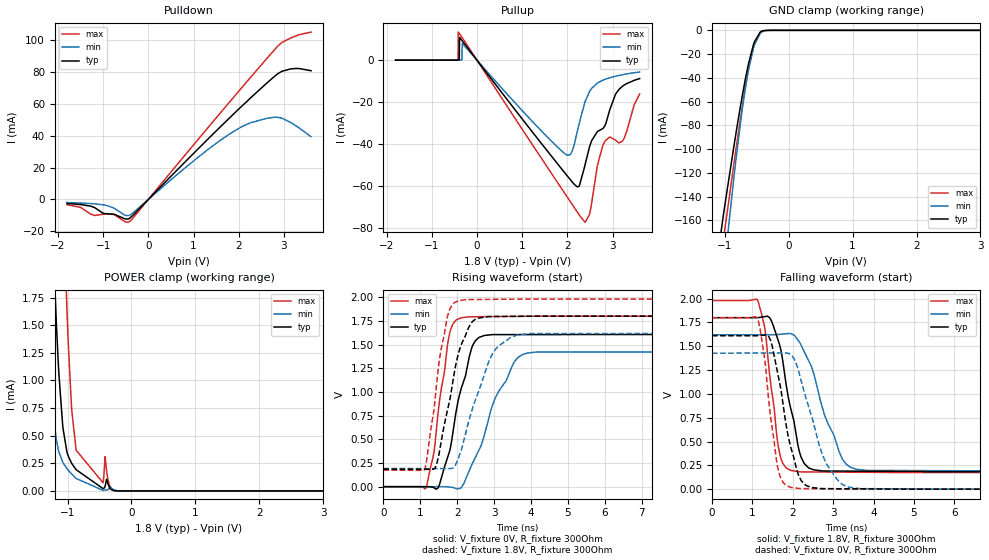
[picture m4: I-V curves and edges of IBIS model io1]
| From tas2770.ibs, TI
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|   io1 Model
[Model]   io1
Model_type   I/O
Polarity   Non-Inverting
Enable   Active-Low
Vinl = 0.63
Vinh = 1.17
Vmeas = 0.9
Vref = 0
Cref = 2pF
Rref = 100000
|   typ   min   max
C_comp   2.0028pF   2.0028pF   2.02143pF
|C_comp_pullup   1.65056pF   1.6279pF   1.71252pF
|C_comp_pulldown   1.63541pF   1.61297pF   1.70465pF
[Model spec]
|subparameter
Vinl   0.63   0.567   0.693
Vinh   1.17   1.053   1.287
| Where nom  PVT is Nominal Process, 1.8V, 25C
|   Fast PVT is Strong Process,  1.98V, -40C
|   Slow PVT is Weak Process,   1.62V, 150C
[Voltage Range]   1.8   1.62   1.98
[Temperature Range]   25   150   -40
[Pullup Reference]   1.8   1.62   1.98
[Pulldown Reference]   -0   0   -0
[Power Clamp Reference]   1.8   1.62   1.98
[GND Clamp Reference]   0   0   0
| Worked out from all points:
|   slope of the pulldown table from 0 to 0.27 V, typ, clamps not added: 34.4 ohm
|   slope of the pullup table from 0 to 0.27 V, typ, clamps not added: 35.4 ohm
|   GND clamp passes 1 mA (typ) near -0.43 V on its own axis
|   POWER clamp passes 1 mA (typ) near -1.13 V on its own axis
|   falling waveform, V_fixture 1.8V, R_fixture 300Ohm: 20-80 % time 413ps typ, 677ps min, 282ps max; typ from 1.8 V to 0.185 V
|   rising waveform, V_fixture 0V, R_fixture 300Ohm: 20-80 % time 535ps typ, 891ps min, 352ps max; typ from 0 V to 1.61 V
|   rising waveform, V_fixture 1.8V, R_fixture 300Ohm: 20-80 % time 508ps typ, 700ps min, 395ps max; typ from 0.185 V to 1.8 V
|   falling waveform, V_fixture 0V, R_fixture 300Ohm: 20-80 % time 438ps typ, 608ps min, 300ps max; typ from 1.61 V to 0 V
[Pulldown]
|   Voltage   I(typ)   I(min)   I(max)
-1.8V     -2.545mA   -1.936mA   -3.311mA
-1.503V   -3.188mA   -2.28mA    -4.934mA
-1.195V   -5.037mA   -2.779mA   -10.05mA
-930.6mV  -8.988mA   -3.721mA   -8.984mA
-509.4mV  -12.26mA   -10.02mA   -14.09mA
-412.2mV  -11.75mA   -9.865mA   -13.76mA
1.31V     37.6mA     31.08mA    44.7mA
2.191V    61.67mA    47.25mA    74.2mA
2.606V    72.58mA    50.77mA    87.86mA
2.952V    80.3mA     50.96mA    98.36mA
3.271V    82.14mA    46.11mA    102.6mA
3.6V      80.74mA    39.32mA    105mA
[GND Clamp]
|   Voltage   I(typ)   I(min)   I(max)
-1.8V     -570.5mA   -641.7mA   -548.4mA
-1.055V   -168.5mA   -223.8mA   -188.6mA
-1.017V   -153.7mA   -204mA     -174.4mA
-860.4mV  -98.74mA   -125.4mA   -113.9mA
-801mV    -78.87mA   -97.94mA   -91.37mA
-730.8mV  -56.52mA   -68.23mA   -65.88mA
-671.4mV  -39.23mA   -46.41mA   -45.97mA
-628.2mV  -28.01mA   -32.96mA   -32.93mA
-552.6mV  -12.3mA    -15mA      -14.56mA
-433.8mV  -1.035mA   -1.915mA   -1.351mA
-266.4mV  -2.552uA   -27.08uA   -1.091uA
3.6V      0A         0A         0A
[Pullup]
|   Voltage   I(typ)   I(min)   I(max)
-1.8V     1.291nA    4.069nA    3.094nA
-444.6mV  662.9nA    23.2nA     25.04uA
-417.6mV  11.23uA    101.6nA    663.6uA
-412.2mV  19.52uA    104.5nA    13.4mA
-385.2mV  10.85mA    486.4nA    12.63mA
-325.8mV  9.236mA    8.048mA    10.78mA
1.996V    -55.24mA   -45.41mA   -65.38mA
2.25V     -60.42mA   -31.43mA   -73.54mA
2.396V    -49.69mA   -19.71mA   -77.44mA
2.785V    -32.7mA    -9.575mA   -40.87mA
3.222V    -12.45mA   -6.966mA   -38.66mA
3.6V      -8.804mA   -5.677mA   -16.19mA
[POWER Clamp]
|   Voltage   I(typ)   I(min)   I(max)
-1.8V     15.04mA    11.45mA    21.47mA
-1.341V   4.269mA    1.947mA    8.515mA
-1.206V   1.942mA    601.2uA    5.557mA
-1.076V   594.7uA    261.7uA    2.825mA
-1.012V   357.6uA    203.5uA    1.67mA
-936mV    249.6uA    153.3uA    736.7uA
-865.8mV  192.2uA    113.1uA    369uA
-444.6mV  20.67uA    4.645uA    73.72uA
-412.2mV  43.63uA    7.781uA    310.6uA
-352.8mV  42.07uA    18.44uA    67.21uA
-261mV    1.93uA     6.917uA    2.407uA
3.6V      0A         0A         0A
[Ramp]
R_load = 300
|   typ   min   max
dV/dt_r   0.966178/5.2985e-10   0.855929/8.9431e-10   1.07935/3.51312e-10
dV/dt_f   0.969077/4.09946e-10   0.857032/6.72331e-10   1.08291/2.80955e-10
[Falling Waveform]
V_fixture = 1.8V
V_fixture_min = 1.62V
V_fixture_max = 1.98V
R_fixture = 300Ohm
C_fixture = 0F
|   Time   V(typ)   V(min)   V(max)
0s        1.8V       1.62V      1.98V
1.127ns   1.8V       1.62V      1.984V
1.319ns   1.812V     1.62V      1.656V
1.64ns    1.559V     1.623V     448.8mV
1.963ns   823.3mV    1.63V      195.1mV
2.197ns   346.3mV    1.519V     181.8mV
2.385ns   225.9mV    1.355V     181mV
3.22ns    189.9mV    321.9mV    178.6mV
3.595ns   189mV      207.2mV    177.6mV
25ns      184.9mV    191.6mV    175.1mV
[Rising Waveform]
V_fixture = 0V
V_fixture_min = 0V
V_fixture_max = 0V
R_fixture = 300Ohm
C_fixture = 0F
|   Time   V(typ)   V(min)   V(max)
0s        11.63uV    16.38uV    9.769uV
1.154ns   -70.39uV   -30.35uV   -13.94mV
1.373ns   -11.34mV   -39.24uV   368.3mV
1.478ns   -15.63mV   -43.5uV    759.1mV
1.767ns   339.9mV    -3.09mV    1.562V
2.099ns   1.02V      -14.34mV   1.782V
2.582ns   1.572V     379.1mV    1.794V
3.041ns   1.605V     943.1mV    1.795V
3.912ns   1.605V     1.411V     1.799V
25ns      1.61V      1.427V     1.799V
[Rising Waveform]
V_fixture = 1.8V
V_fixture_min = 1.62V
V_fixture_max = 1.98V
R_fixture = 300Ohm
C_fixture = 0F
|   Time   V(typ)   V(min)   V(max)
0s        184.9mV    191.6mV    175.1mV
1.116ns   183.5mV    191mV      179.9mV
1.422ns   215.5mV    190.9mV    1V
1.534ns   400.2mV    190.8mV    1.376V
1.704ns   747.2mV    190.7mV    1.73V
2.043ns   1.415V     311.1mV    1.963V
2.399ns   1.735V     803.2mV    1.975V
2.887ns   1.796V     1.345V     1.977V
3.64ns    1.798V     1.602V     1.979V
25ns      1.8V       1.62V      1.98V
[Falling Waveform]
|Gnd
V_fixture = 0V
V_fixture_min = 0V
V_fixture_max = 0V
R_fixture = 300Ohm
C_fixture = 0F
|   Time   V(typ)   V(min)   V(max)
0s        1.61V      1.427V     1.799V
1.12ns    1.61V      1.429V     1.798V
1.302ns   1.617V     1.429V     1.374V
1.405ns   1.602V     1.43V      927.9mV
1.62ns    1.23V      1.43V      244.1mV
1.945ns   447.8mV    1.414V     18.92mV
2.312ns   43.45mV    974.9mV    6.172mV
2.829ns   5.206mV    269.6mV    4.698mV
3.389ns   3.97mV     20.08mV    3.105mV
25ns      13.29uV    17.33uV    9.691uV
